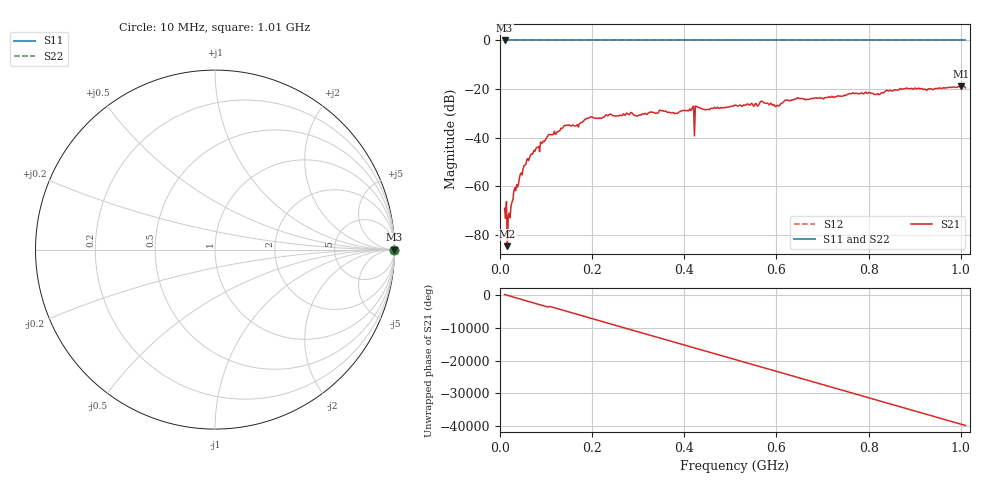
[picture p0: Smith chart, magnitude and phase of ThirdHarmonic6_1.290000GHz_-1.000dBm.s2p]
! 8/16/2025 2:06:44 PM
! C:\ANRITSUVNA\TEMP\TEMP.S2P
! CHANNEL.1
! TR.MEASUREMENT
! RAW.DATA
! RF.CORRECTION.OFF
! AVERAGING.OFF
! IF.BANDWIDTH: 5KHZ
! SWEEPTYPE:  FREQ.SWEEP(Linear)
! Reference Plane Port Info
! PORT:  PORT1  PORT2
! DISTANCE:  0  m  0  m
! TIME:  0  s  0  s
! PHASE.OFFSET:  0  deg.  0  deg.
! LOSS:  0  dB  0  dB
! REF.LOSS:  0  dB  0  dB
! REF.FREQ:  0  Hz  0  Hz
! Power Info
! POWER:  -20  dBm  -20  dBm
! EFF.POWER:  -20  dBm  -20  dBm
! SOURCE.ATTEN:  0  dB  0  dB
! TEST.ATTEN:  0  dB  0  dB
# GHZ S RI R 50.0
! FREQ.GHZ  S11RE  S11IM  S21RE  S21IM  S12RE  S12IM  S22RE  S22IM
!; PortSelection: Port_12
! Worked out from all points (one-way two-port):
!   501 points, 10 MHz to 1.01 GHz, reference 50 ohm
!   highest |S21| = -18.75 dB at 1 GHz (marker M1); lowest = -84.7 dB at 16 MHz (marker M2)
!   lowest |S11| = 0.0 dB at 10 MHz (marker M3)
!   |S11| at or under -10 dB: nowhere
!   |S22| runs from 0.0 to 0.0 dB; largest |S21 - S12| = 1.1
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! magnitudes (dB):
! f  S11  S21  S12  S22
! 10 MHz  0.0  -69.1  0.0  0.0
! 16 MHz  0.0  -84.7  0.0  0.0
! 20 MHz  0.0  -71.2  0.0  0.0
! 28 MHz  0.0  -65.6  0.0  0.0
! 48 MHz  0.0  -55.4  0.0  0.0
! 70 MHz  0.0  -46.9  0.0  0.0
! 106 MHz  0.0  -38.7  0.0  0.0
! 178 MHz  0.0  -33.8  0.0  0.0
! 234 MHz  0.0  -31.0  0.0  0.0
! 344 MHz  0.0  -29.7  0.0  0.0
! 416 MHz  0.0  -28.3  0.0  0.0
! 418 MHz  0.0  -27.6  0.0  0.0
! 426 MHz  0.0  -27.1  0.0  0.0
! 428 MHz  0.0  -27.4  0.0  0.0
! 510 MHz  0.0  -26.7  0.0  0.0
! 568 MHz  0.0  -25.0  0.0  0.0
! 602 MHz  0.0  -26.6  0.0  0.0
! 620 MHz  0.0  -24.6  0.0  0.0
! 678 MHz  0.0  -23.8  0.0  0.0
! 844 MHz  0.0  -20.8  0.0  0.0
! 1 GHz  0.0  -18.8  0.0  0.0
! 1.01 GHz  0.0  -19.5  0.0  0.0
